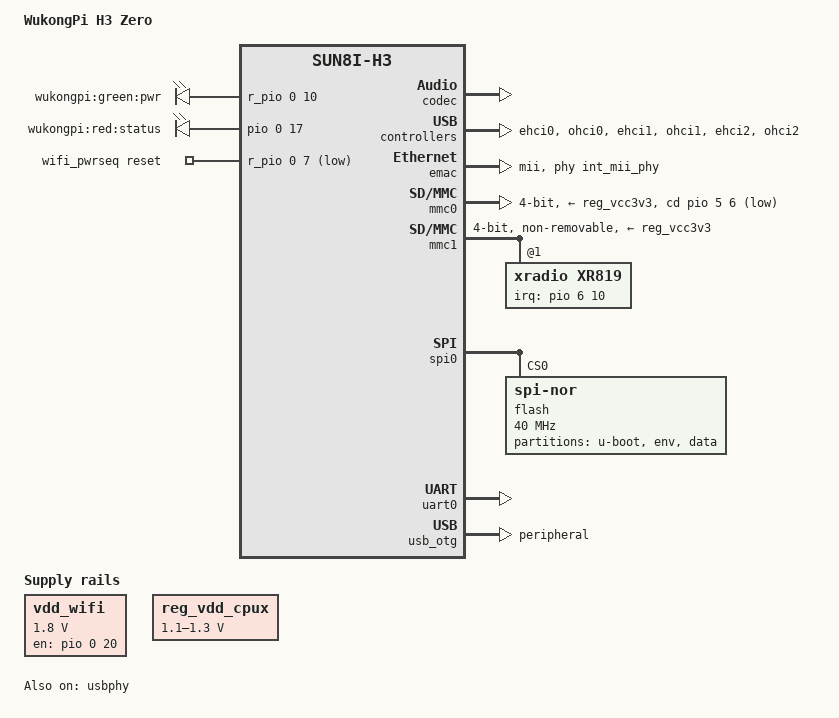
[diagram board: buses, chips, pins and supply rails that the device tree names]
// SPDX-License-Identifier: (GPL-2.0+ OR MIT)
/*
 * 悟空派 H3 Zero (WukongPi H3 Zero) —— 主线 Linux 设备树
 *
 * 硬件：Allwinner H3 (4x Cortex-A7 @ 1.2GHz)
 *       - DDR3 256MB / 512MB
 *       - MicroSD  (SDC0 / PF0-PF5)
 *       - 百兆网口 (H3 内置 MII PHY)
 *       - XR819 SDIO WiFi (SDC1 / PG0-PG5)
 *       - 13pin 扩展口：USB2.0 x2、CVBS、立体声输出、麦克风、红外接收
 *       - 26pin 排针（兼容树莓派定义）：UART1/UART2、TWI、SPI1、PWM
 *       - 2MB SPI NOR (SPI0 / PC0-PC3)
 *
 * 该板与 Xunlong Orange Pi Zero 硬件基本一致，故大部分节点沿用其定义，
 * 区别在于本板使用真正的 H3 而非 H2+，因此 compatible 使用 sun8i-h3。
 *
 * WiFi 部分（vdd_wifi 1.8V / host-wake PG10 / reset PL7）来自 XR819
 * 主线移植驱动的参考设备树，见 https://github.com/fifteenhex/xradio
 *
 * 参考：arch/arm/boot/dts/allwinner/sun8i-h2-plus-orangepi-zero.dts
 */

/dts-v1/;
#include "sun8i-h3.dtsi"
#include "sunxi-common-regulators.dtsi"

#include <dt-bindings/gpio/gpio.h>
#include <dt-bindings/input/input.h>
#include <dt-bindings/interrupt-controller/irq.h>

/ {
	model = "WukongPi H3 Zero";
	compatible = "wukongpi,h3-zero", "allwinner,sun8i-h3";

	aliases {
		serial0 = &uart0;
		/* ethernet0 是 H3 的 EMAC，定义在 sunxi-h3-h5.dtsi 里 */
		ethernet0 = &emac;
		/*
		 * 让 U-Boot / 内核给 XR819 分配一个稳定的 MAC：sunxi U-Boot 会
		 * 根据芯片唯一 ID 生成地址并写进这个节点。
		 */
		ethernet1 = &xr819;
	};

	chosen {
		stdout-path = "serial0:115200n8";
	};

	leds {
		compatible = "gpio-leds";

		/* 电源指示灯（绿色，常亮） */
		pwr_led {
			label = "wukongpi:green:pwr";
			gpios = <&r_pio 0 10 GPIO_ACTIVE_HIGH>;
			default-state = "on";
		};

		/* 用户可控状态灯（红色） */
		status_led {
			label = "wukongpi:red:status";
			gpios = <&pio 0 17 GPIO_ACTIVE_HIGH>;
		};
	};

	/* XR819 的 1.8V IO 电源，由 PA20 控制 */
	vdd_wifi: vdd-wifi {
		compatible = "regulator-fixed";
		regulator-name = "vdd-wifi";
		regulator-min-microvolt = <1800000>;
		regulator-max-microvolt = <1800000>;
		gpio = <&pio 0 20 GPIO_ACTIVE_HIGH>;
		startup-delay-us = <70000>;
		enable-active-high;
	};

	/* CPU 核心电压，由 PL6 在 1.1V / 1.3V 之间切换，配合 OPP 调频 */
	reg_vdd_cpux: vdd-cpux-regulator {
		compatible = "regulator-gpio";
		regulator-name = "vdd-cpux";
		regulator-type = "voltage";
		regulator-boot-on;
		regulator-always-on;
		regulator-min-microvolt = <1100000>;
		regulator-max-microvolt = <1300000>;
		regulator-ramp-delay = <50>; /* 4ms */

		gpios = <&r_pio 0 6 GPIO_ACTIVE_HIGH>; /* PL6 */
		enable-active-high;
		gpios-states = <1>;
		states = <1100000 0>, <1300000 1>;
	};

	/* XR819 的复位时序。
	 *
	 * ⚠️ 上电等待时间必须给足。实测 50ms / 200ms 都不够：
	 * 开机时约 1/5 概率出现
	 *   mmc1: Failed to initialize a non-removable card
	 * 而初始化「边际成功」时更糟——卡枚举了但通信不可靠，固件会收到
	 * 被破坏的数据并 assert 卡死。用 unbind/bind 手动重新枚举（时序干净）
	 * 之后，扫描 / 连接 / 上网全部正常，序号零错误。
	 * 所以这里给到 1 秒，宁可开机慢一点。
	 */
	wifi_pwrseq: pwrseq {
		compatible = "mmc-pwrseq-simple";
		pinctrl-names = "default";
		pinctrl-0 = <&wifi_rst>;
		reset-gpios = <&r_pio 0 7 GPIO_ACTIVE_LOW>;
		post-power-on-delay-ms = <1000>;
	};
};

/*
 * 音频输入/输出引到 13pin 扩展口（7/8 脚 LINEOUT，10-12 脚 MIC），
 * 接上转接板即可使用板载 H3 codec。
 * 注意：同一排针第 9 脚的 CVBS 视频输出**没有**主线驱动，见 README「已知限制」。
 */
&codec {
	allwinner,audio-routing =
		"Line Out", "LINEOUT",
		"MIC1", "Mic",
		"Mic",  "MBIAS";
	status = "okay";
};

&cpu0 {
	cpu-supply = <&reg_vdd_cpux>;
};

/* USB1：板上 USB-A 口 */
&ehci0 {
	status = "okay";
};

&ohci0 {
	status = "okay";
};

/* USB2 / USB3：13pin 扩展口上的两路 USB，需转接板引出 */
&ehci1 {
	status = "okay";
};

&ohci1 {
	status = "okay";
};

&ehci2 {
	status = "okay";
};

&ohci2 {
	status = "okay";
};

/* 百兆网口：H3 内置 10/100 PHY */
&emac {
	phy-handle = <&int_mii_phy>;
	phy-mode = "mii";
	allwinner,leds-active-low;
	status = "okay";
};

/* TF 卡 */
&mmc0 {
	vmmc-supply = <&reg_vcc3v3>;
	bus-width = <4>;
	cd-gpios = <&pio 5 6 GPIO_ACTIVE_LOW>; /* PF6 */
	status = "okay";
};

/*
 * XR819 WiFi（SDIO）
 * vmmc 是固定的 3.3V，vqmmc 是受 PA20 控制的 1.8V IO 电压 —— 这个接法
 * 来自 XR819 驱动作者在香橙派 Zero 上实测可用的配置。
 * max-frequency 压到 16MHz 是因为 XR819 在高频下非常容易丢帧。
 */
&mmc1 {
	vmmc-supply = <&reg_vcc3v3>;
	vqmmc-supply = <&vdd_wifi>;
	mmc-pwrseq = <&wifi_pwrseq>;
	bus-width = <4>;
	max-frequency = <16000000>;
	non-removable;
	status = "okay";

	xr819: wifi@1 {
		reg = <1>;
		compatible = "xradio,xr819";
		pinctrl-names = "default";
		pinctrl-0 = <&wifi_wake>;
		interrupt-parent = <&pio>;
		interrupts = <6 10 IRQ_TYPE_EDGE_RISING>; /* PG10 */
		interrupt-names = "host-wake";
	};
};

/* XR819 的两个控制脚 */
&pio {
	wifi_wake: wifi-wake {
		pins = "PG10";
		function = "gpio_in";
	};
};

&r_pio {
	wifi_rst: wifi-rst {
		pins = "PL7";
		function = "gpio_out";
	};
};

/*
 * 板载 SPI NOR（PC0-PC3）。
 *
 * ⚠️ status 必须保持 "okay"，**不要改成 "disabled"**！
 *
 * 实测：关掉 spi0 会让 mmc1（XR819 WiFi 的 SDIO）初始化失败——
 *   [0.53] mmc1: Failed to initialize a non-removable card
 * 改回 okay 立刻恢复：
 *   [0.58] mmc1: new high speed SDIO card at address 0001
 *
 * 说明这块板的 PC0-PC3 并不只是接了一颗 Flash，关掉 spi0 会改变这些引脚的
 * 状态（不再 mux 成 spi0 功能），进而波及 WiFi。所以保留 enabled 是为了
 * **引脚状态**，不是为了这颗 Flash。
 *
 * 这颗 Flash 本身实测不响应（dmesg 里 `unrecognized JEDEC id bytes:
 * 00 00 00 00 00 00`），但那条报错是无害的，mtd 设备不会创建而已。
 * 如果哪天拿到焊了 Flash 的板子，这个节点正好能直接用。
 */
&spi0 {
	status = "okay";

	flash@0 {
		#address-cells = <1>;
		#size-cells = <1>;
		compatible = "jedec,spi-nor";
		reg = <0>;
		spi-max-frequency = <40000000>;

		partitions {
			compatible = "fixed-partitions";
			#address-cells = <1>;
			#size-cells = <1>;

			partition@0 {
				label = "u-boot";
				reg = <0x000000 0x80000>;
				read-only;
			};

			partition@80000 {
				label = "env";
				reg = <0x080000 0x10000>;
			};

			partition@90000 {
				label = "data";
				reg = <0x090000 0x170000>;
			};
		};
	};
};

/* 调试串口，接到板载 USB 转串口芯片（Type-C 口即插即用） */
&uart0 {
	pinctrl-names = "default";
	pinctrl-0 = <&uart0_pa_pins>;
	status = "okay";
};

/* 下面两个串口引到 26pin 排针，默认关闭，需要时打开 */
&uart1 {
	pinctrl-names = "default";
	pinctrl-0 = <&uart1_pins>;
	status = "disabled";
};

&uart2 {
	pinctrl-names = "default";
	pinctrl-0 = <&uart2_pins>;
	status = "disabled";
};

/* Type-C 口默认作为外设（USB gadget）使用 */
&usb_otg {
	dr_mode = "peripheral";
	status = "okay";
};

&usbphy {
	status = "okay";
	usb0_id_det-gpios = <&pio 6 12 GPIO_ACTIVE_HIGH>; /* PG12 */
};
